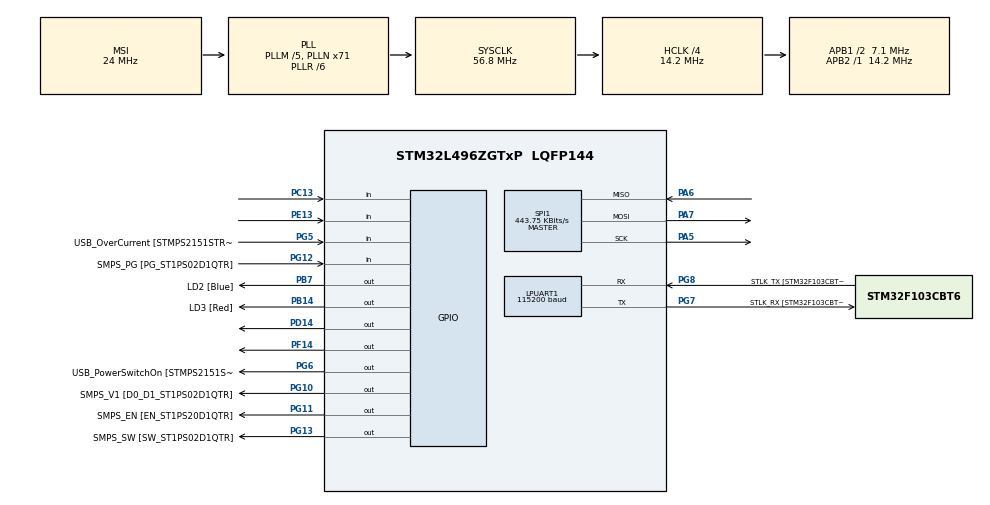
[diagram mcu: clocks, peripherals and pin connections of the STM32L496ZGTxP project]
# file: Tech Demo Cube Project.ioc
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LPUART1.BaudRate=115200
LPUART1.WordLength=UART_WORDLENGTH_8B
Mcu.Family=STM32L4
Mcu.Name=STM32L496ZGTxP
Mcu.Package=LQFP144
NVIC.PriorityGroup=NVIC_PRIORITYGROUP_4
PA10.GPIO_Label=USB_ID
PA10.Signal=USB_OTG_FS_ID
PA11.GPIO_Label=USB_DM
PA11.Signal=USB_OTG_FS_DM
PA12.GPIO_Label=USB_DP
PA12.Signal=USB_OTG_FS_DP
PA13\ (JTMS/SWDIO).GPIO_Label=TMS
PA13\ (JTMS/SWDIO).Mode=Trace_Asynchronous_SW
PA13\ (JTMS/SWDIO).Signal=SYS_JTMS-SWDIO
PA14\ (JTCK/SWCLK).GPIO_Label=TCK
PA14\ (JTCK/SWCLK).Mode=Trace_Asynchronous_SW
PA14\ (JTCK/SWCLK).Signal=SYS_JTCK-SWCLK
PA5.Mode=Full_Duplex_Master
PA5.Signal=SPI1_SCK
PA6.Mode=Full_Duplex_Master
PA6.Signal=SPI1_MISO
PA7.Mode=Full_Duplex_Master
PA7.Signal=SPI1_MOSI
PA8.GPIO_Label=USB_SOF [TP1]
PA8.Signal=USB_OTG_FS_SOF
PA9.GPIO_Label=USB_VBUS
PA9.Signal=USB_OTG_FS_VBUS
PB14.GPIO_Label=LD3 [Red]
PB14.Signal=GPIO_Output
PB3\ (JTDO/TRACESWO).GPIO_Label=SWO
PB3\ (JTDO/TRACESWO).Mode=Trace_Asynchronous_SW
PB3\ (JTDO/TRACESWO).Signal=SYS_JTDO-SWO
PB7.GPIO_Label=LD2 [Blue]
PB7.Signal=GPIO_Output
PC13.Signal=GPIO_Input
PC14-OSC32_IN\ (PC14).Mode=LSE-External-Oscillator
PC14-OSC32_IN\ (PC14).Signal=RCC_OSC32_IN
PC15-OSC32_OUT\ (PC15).Mode=LSE-External-Oscillator
PC15-OSC32_OUT\ (PC15).Signal=RCC_OSC32_OUT
PD14.Signal=GPIO_Output
PE13.Signal=GPIO_Input
PF14.Signal=GPIO_Output
PG10.GPIO_Label=SMPS_V1 [D0_D1_ST1PS02D1QTR]
PG10.Signal=GPIO_Output
PG11.GPIO_Label=SMPS_EN [EN_ST1PS20D1QTR]
PG11.Signal=GPIO_Output
PG12.GPIO_Label=SMPS_PG [PG_ST1PS02D1QTR]
PG12.Signal=GPIO_Input
PG13.GPIO_Label=SMPS_SW [SW_ST1PS02D1QTR]
PG13.Signal=GPIO_Output
PG5.GPIO_Label=USB_OverCurrent [STMPS2151STR_FAULT]
PG5.Signal=GPIO_Input
PG6.GPIO_Label=USB_PowerSwitchOn [STMPS2151STR_EN]
PG6.Signal=GPIO_Output
PG7.GPIO_Label=STLK_RX [STM32F103CBT6_PA3]
PG7.Mode=Asynchronous
PG7.Signal=LPUART1_TX
PG8.GPIO_Label=STLK_TX [STM32F103CBT6_PA2]
PG8.Mode=Asynchronous
PG8.Signal=LPUART1_RX
PH0-OSC_IN\ (PH0).GPIO_Label=MCO
PH0-OSC_IN\ (PH0).Signal=RCC_OSC_IN
PH1-OSC_OUT\ (PH1).Signal=RCC_OSC_OUT
ProjectManager.HeapSize=0x200
ProjectManager.StackSize=0x400
ProjectManager.TargetToolchain=STM32CubeIDE
RCC.48MHZClocksFreq_Value=24000000
RCC.ADCFreq_Value=48000000
RCC.AHBCLKDivider=RCC_SYSCLK_DIV4
RCC.AHBFreq_Value=14200000
RCC.APB1CLKDivider=RCC_HCLK_DIV2
RCC.APB1Freq_Value=7100000
RCC.APB1TimFreq_Value=14200000
RCC.APB2Freq_Value=14200000
RCC.APB2TimFreq_Value=14200000
RCC.CortexFreq_Value=14200000
RCC.HCLKFreq_Value=14200000
RCC.HSE_VALUE=8000000
RCC.HSI48_VALUE=48000000
RCC.HSI_VALUE=16000000
RCC.MSIClockRange=RCC_MSIRANGE_9
RCC.MSI_VALUE=24000000
RCC.PLLM=5
RCC.PLLMUL=RCC_PLL_MUL9
RCC.PLLN=71
RCC.PLLR=RCC_PLLR_DIV6
RCC.PLLSAI1N=20
RCC.PRESCALERUSB=RCC_USBCLKSOURCE_PLL_DIV1_5
RCC.SYSCLKFreq_VALUE=56800000
RCC.SYSCLKSource=RCC_SYSCLKSOURCE_PLLCLK
RCC.SYSCLKSourceVirtual=RCC_SYSCLKSOURCE_PLLCLK
RCC.USBFreq_Value=48000000
RCC.VCOOutputFreq_Value=340800000
SPI1.BaudRatePrescaler=SPI_BAUDRATEPRESCALER_32
SPI1.CalculateBaudRate=443.75 KBits/s
SPI1.DataSize=SPI_DATASIZE_8BIT
SPI1.Direction=SPI_DIRECTION_2LINES
SPI1.Mode=SPI_MODE_MASTER
SPI1.NSSPMode=SPI_NSS_PULSE_DISABLE
SPI1.VirtualType=VM_MASTER
board=NUCLEO-L496ZG-P

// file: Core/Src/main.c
/* USER CODE BEGIN Header */
/**
  ******************************************************************************
  * @file           : main.c
  * @brief          : Main program body
  ******************************************************************************
  * @attention
  *
  * <h2><center>&copy; Copyright (c) 2021 STMicroelectronics.
  * All rights reserved.</center></h2>
  *
  * This software component is licensed by ST under Ultimate Liberty license
  * SLA0044, the "License"; You may not use this file except in compliance with
  * the License. You may obtain a copy of the License at:
  *                             www.st.com/SLA0044
  *
  ******************************************************************************
  */
/* USER CODE END Header */
#include "main.h"

/* USER CODE BEGIN Includes */

#include <string.h>
#include <stdlib.h>
#include <stdio.h>

/* USER CODE END Includes */

/* USER CODE BEGIN PD */
#define CS_PORT 	GPIOD
#define CS_PIN		GPIO_PIN_14

#define DRDY_PORT 	GPIOE
#define DRDY_PIN	GPIO_PIN_13

#define RST_PORT	GPIOF
#define RST_PIN		GPIO_PIN_14

#define PRE			0xFA
#define	BID			0xFF

/* USER CODE END PD */

/* USER CODE BEGIN PM */

void flush_buffer(uint8_t* buf, int len) {
	for (int i = 0; i < len; i++) {
		buf[i] = 0;
	}
}

void reset_xsens() {
	HAL_GPIO_WritePin(RST_PORT, RST_PIN, GPIO_PIN_SET);
	HAL_Delay(10);
	HAL_GPIO_WritePin(RST_PORT, RST_PIN, GPIO_PIN_RESET);
	HAL_Delay(100);
}

/* USER CODE END PM */

UART_HandleTypeDef hlpuart1;

SPI_HandleTypeDef hspi1;

void SystemClock_Config(void);
static void MX_GPIO_Init(void);
static void MX_LPUART1_UART_Init(void);
static void MX_SPI1_Init(void);

int main(void)
{
  /* USER CODE BEGIN 1 */

	uint8_t buf[64];
	int counter = 0;

	uint8_t spi_tx_buf[64];
	uint8_t spi_rx_buf[64];

	flush_buffer(spi_tx_buf, 64);
	flush_buffer(spi_rx_buf, 64);

  /* USER CODE END 1 */

  /* MCU Configuration--------------------------------------------------------*/

  /* Reset of all peripherals, Initializes the Flash interface and the Systick. */
  HAL_Init();

  /* Configure the system clock */
  SystemClock_Config();

  /* Initialize all configured peripherals */
  MX_GPIO_Init();
  MX_LPUART1_UART_Init();
  MX_SPI1_Init();
  /* USER CODE BEGIN 2 */

  //FA FF 30 00 D1
  spi_tx_buf[0] = PRE;
  spi_tx_buf[1] = BID;
  spi_tx_buf[2] = 0x30;
  spi_tx_buf[3] = 0x00;
  spi_tx_buf[4] = 0xD1;

  /* USER CODE END 2 */

  /* Infinite loop */
  /* USER CODE BEGIN WHILE */
  while (1)
  {
	  if(HAL_GPIO_ReadPin(GPIOC, GPIO_PIN_13)) {
	  		  HAL_Delay(25);
	  		  sprintf((char*)buf, "Button Pressed %d Times!\r\n", counter);
	  		  HAL_UART_Transmit(&hlpuart1, buf, strlen((char*)buf), HAL_MAX_DELAY);

	  		  reset_xsens();

	  		  while(!HAL_GPIO_ReadPin(DRDY_PORT, DRDY_PIN));

	  		  HAL_GPIO_WritePin(CS_PORT, CS_PIN, GPIO_PIN_RESET);
	  		  HAL_SPI_Transmit(&hspi1, (uint8_t*) spi_tx_buf, 5, 100);
	  		  //HAL_SPI_Receive(&hspi1, (uint8_t*) spi_rx_buf, 5, 100);
	  		  HAL_GPIO_WritePin(CS_PORT, CS_PIN, GPIO_PIN_SET);

	  		  flush_buffer(spi_tx_buf, 64);

	  		  spi_tx_buf[0] = PRE;
	  		  spi_tx_buf[1] = BID;
	  		  spi_tx_buf[2] = 0x00;
	  		  spi_tx_buf[3] = 0x00;
	  		  spi_tx_buf[4] = 0x01;

	  		  HAL_GPIO_WritePin(CS_PORT, CS_PIN, GPIO_PIN_RESET);
	  		  HAL_SPI_Transmit(&hspi1, (uint8_t*) spi_tx_buf, 5, 100);
	  		  HAL_GPIO_WritePin(CS_PORT, CS_PIN, GPIO_PIN_SET);

	  		  while(!HAL_GPIO_ReadPin(DRDY_PORT, DRDY_PIN));

	  		  HAL_GPIO_WritePin(CS_PORT, CS_PIN, GPIO_PIN_RESET);
	  		  HAL_SPI_Receive(&hspi1, (uint8_t*) spi_rx_buf, 64, 100);
	  		  HAL_GPIO_WritePin(CS_PORT, CS_PIN, GPIO_PIN_SET);

	  		  for(int i = 0; i < 64; i++) {
	  			  sprintf((char*)buf, "0x%02x\r\n", (uint8_t) spi_rx_buf[i]);
	  			  HAL_UART_Transmit(&hlpuart1, buf, strlen((char*)buf), HAL_MAX_DELAY);
	  		  }

	  		  while(HAL_GPIO_ReadPin(GPIOC, GPIO_PIN_13));
	  		  counter++;
	  }
    /* USER CODE END WHILE */

  }
}

void SystemClock_Config(void)
{
  RCC_OscInitTypeDef RCC_OscInitStruct = {0};
  RCC_ClkInitTypeDef RCC_ClkInitStruct = {0};

  /** Configure the main internal regulator output voltage
  */
  if (HAL_PWREx_ControlVoltageScaling(PWR_REGULATOR_VOLTAGE_SCALE1) != HAL_OK)
  {
    Error_Handler();
  }
  /** Initializes the RCC Oscillators according to the specified parameters
  * in the RCC_OscInitTypeDef structure.
  */
  RCC_OscInitStruct.OscillatorType = RCC_OSCILLATORTYPE_MSI;
  RCC_OscInitStruct.MSIState = RCC_MSI_ON;
  RCC_OscInitStruct.MSICalibrationValue = 0;
  RCC_OscInitStruct.MSIClockRange = RCC_MSIRANGE_9;
  RCC_OscInitStruct.PLL.PLLState = RCC_PLL_ON;
  RCC_OscInitStruct.PLL.PLLSource = RCC_PLLSOURCE_MSI;
  RCC_OscInitStruct.PLL.PLLM = 5;
  RCC_OscInitStruct.PLL.PLLN = 71;
  RCC_OscInitStruct.PLL.PLLP = RCC_PLLP_DIV2;
  RCC_OscInitStruct.PLL.PLLQ = RCC_PLLQ_DIV2;
  RCC_OscInitStruct.PLL.PLLR = RCC_PLLR_DIV6;
  if (HAL_RCC_OscConfig(&RCC_OscInitStruct) != HAL_OK)
  {
    Error_Handler();
  }
  /** Initializes the CPU, AHB and APB buses clocks
  */
  RCC_ClkInitStruct.ClockType = RCC_CLOCKTYPE_HCLK|RCC_CLOCKTYPE_SYSCLK
                              |RCC_CLOCKTYPE_PCLK1|RCC_CLOCKTYPE_PCLK2;
  RCC_ClkInitStruct.SYSCLKSource = RCC_SYSCLKSOURCE_PLLCLK;
  RCC_ClkInitStruct.AHBCLKDivider = RCC_SYSCLK_DIV4;
  RCC_ClkInitStruct.APB1CLKDivider = RCC_HCLK_DIV2;
  RCC_ClkInitStruct.APB2CLKDivider = RCC_HCLK_DIV1;

  if (HAL_RCC_ClockConfig(&RCC_ClkInitStruct, FLASH_LATENCY_0) != HAL_OK)
  {
    Error_Handler();
  }
}

static void MX_LPUART1_UART_Init(void)
{

  hlpuart1.Instance = LPUART1;
  hlpuart1.Init.BaudRate = 115200;
  hlpuart1.Init.WordLength = UART_WORDLENGTH_8B;
  hlpuart1.Init.StopBits = UART_STOPBITS_1;
  hlpuart1.Init.Parity = UART_PARITY_NONE;
  hlpuart1.Init.Mode = UART_MODE_TX_RX;
  hlpuart1.Init.HwFlowCtl = UART_HWCONTROL_NONE;
  hlpuart1.Init.OneBitSampling = UART_ONE_BIT_SAMPLE_DISABLE;
  hlpuart1.AdvancedInit.AdvFeatureInit = UART_ADVFEATURE_NO_INIT;
  if (HAL_UART_Init(&hlpuart1) != HAL_OK)
  {
    Error_Handler();
  }

}

static void MX_SPI1_Init(void)
{

  /* SPI1 parameter configuration*/
  hspi1.Instance = SPI1;
  hspi1.Init.Mode = SPI_MODE_MASTER;
  hspi1.Init.Direction = SPI_DIRECTION_2LINES;
  hspi1.Init.DataSize = SPI_DATASIZE_8BIT;
  hspi1.Init.CLKPolarity = SPI_POLARITY_LOW;
  hspi1.Init.CLKPhase = SPI_PHASE_1EDGE;
  hspi1.Init.NSS = SPI_NSS_SOFT;
  hspi1.Init.BaudRatePrescaler = SPI_BAUDRATEPRESCALER_32;
  hspi1.Init.FirstBit = SPI_FIRSTBIT_MSB;
  hspi1.Init.TIMode = SPI_TIMODE_DISABLE;
  hspi1.Init.CRCCalculation = SPI_CRCCALCULATION_DISABLE;
  hspi1.Init.CRCPolynomial = 7;
  hspi1.Init.CRCLength = SPI_CRC_LENGTH_DATASIZE;
  hspi1.Init.NSSPMode = SPI_NSS_PULSE_DISABLE;
  if (HAL_SPI_Init(&hspi1) != HAL_OK)
  {
    Error_Handler();
  }

}

static void MX_GPIO_Init(void)
{
  GPIO_InitTypeDef GPIO_InitStruct = {0};

  /* GPIO Ports Clock Enable */
  __HAL_RCC_GPIOC_CLK_ENABLE();
  __HAL_RCC_GPIOH_CLK_ENABLE();
  __HAL_RCC_GPIOA_CLK_ENABLE();
  __HAL_RCC_GPIOF_CLK_ENABLE();
  __HAL_RCC_GPIOE_CLK_ENABLE();
  __HAL_RCC_GPIOB_CLK_ENABLE();
  __HAL_RCC_GPIOD_CLK_ENABLE();
  __HAL_RCC_GPIOG_CLK_ENABLE();
  HAL_PWREx_EnableVddIO2();

  /*Configure GPIO pin Output Level */
  HAL_GPIO_WritePin(GPIOF, GPIO_PIN_14, GPIO_PIN_RESET);

  /*Configure GPIO pin Output Level */
  HAL_GPIO_WritePin(GPIOB, LD3_Pin|LD2_Pin, GPIO_PIN_RESET);

  /*Configure GPIO pin Output Level */
  HAL_GPIO_WritePin(GPIOD, GPIO_PIN_14, GPIO_PIN_RESET);

  /*Configure GPIO pin Output Level */
  HAL_GPIO_WritePin(GPIOG, USB_PowerSwitchOn_Pin|SMPS_V1_Pin|SMPS_EN_Pin|SMPS_SW_Pin, GPIO_PIN_RESET);

  /*Configure GPIO pin : PC13 */
  GPIO_InitStruct.Pin = GPIO_PIN_13;
  GPIO_InitStruct.Mode = GPIO_MODE_INPUT;
  GPIO_InitStruct.Pull = GPIO_NOPULL;
  HAL_GPIO_Init(GPIOC, &GPIO_InitStruct);

  /*Configure GPIO pin : PF14 */
  GPIO_InitStruct.Pin = GPIO_PIN_14;
  GPIO_InitStruct.Mode = GPIO_MODE_OUTPUT_PP;
  GPIO_InitStruct.Pull = GPIO_NOPULL;
  GPIO_InitStruct.Speed = GPIO_SPEED_FREQ_LOW;
  HAL_GPIO_Init(GPIOF, &GPIO_InitStruct);

  /*Configure GPIO pin : PE13 */
  GPIO_InitStruct.Pin = GPIO_PIN_13;
  GPIO_InitStruct.Mode = GPIO_MODE_INPUT;
  GPIO_InitStruct.Pull = GPIO_NOPULL;
  HAL_GPIO_Init(GPIOE, &GPIO_InitStruct);

  /*Configure GPIO pins : LD3_Pin LD2_Pin */
  GPIO_InitStruct.Pin = LD3_Pin|LD2_Pin;
  GPIO_InitStruct.Mode = GPIO_MODE_OUTPUT_PP;
  GPIO_InitStruct.Pull = GPIO_NOPULL;
  GPIO_InitStruct.Speed = GPIO_SPEED_FREQ_LOW;
  HAL_GPIO_Init(GPIOB, &GPIO_InitStruct);

  /*Configure GPIO pin : PD14 */
  GPIO_InitStruct.Pin = GPIO_PIN_14;
  GPIO_InitStruct.Mode = GPIO_MODE_OUTPUT_PP;
  GPIO_InitStruct.Pull = GPIO_NOPULL;
  GPIO_InitStruct.Speed = GPIO_SPEED_FREQ_LOW;
  HAL_GPIO_Init(GPIOD, &GPIO_InitStruct);

  /*Configure GPIO pins : USB_OverCurrent_Pin SMPS_PG_Pin */
  GPIO_InitStruct.Pin = USB_OverCurrent_Pin|SMPS_PG_Pin;
  GPIO_InitStruct.Mode = GPIO_MODE_INPUT;
  GPIO_InitStruct.Pull = GPIO_NOPULL;
  HAL_GPIO_Init(GPIOG, &GPIO_InitStruct);

  /*Configure GPIO pins : USB_PowerSwitchOn_Pin SMPS_V1_Pin SMPS_EN_Pin SMPS_SW_Pin */
  GPIO_InitStruct.Pin = USB_PowerSwitchOn_Pin|SMPS_V1_Pin|SMPS_EN_Pin|SMPS_SW_Pin;
  GPIO_InitStruct.Mode = GPIO_MODE_OUTPUT_PP;
  GPIO_InitStruct.Pull = GPIO_NOPULL;
  GPIO_InitStruct.Speed = GPIO_SPEED_FREQ_LOW;
  HAL_GPIO_Init(GPIOG, &GPIO_InitStruct);

  /*Configure GPIO pins : USB_SOF_Pin USB_ID_Pin USB_DM_Pin USB_DP_Pin */
  GPIO_InitStruct.Pin = USB_SOF_Pin|USB_ID_Pin|USB_DM_Pin|USB_DP_Pin;
  GPIO_InitStruct.Mode = GPIO_MODE_AF_PP;
  GPIO_InitStruct.Pull = GPIO_NOPULL;
  GPIO_InitStruct.Speed = GPIO_SPEED_FREQ_VERY_HIGH;
  GPIO_InitStruct.Alternate = GPIO_AF10_OTG_FS;
  HAL_GPIO_Init(GPIOA, &GPIO_InitStruct);

}

void Error_Handler(void)
{
  __disable_irq();
  while (1)
  {
  }
}

/************************ (C) COPYRIGHT STMicroelectronics *****END OF FILE****/
